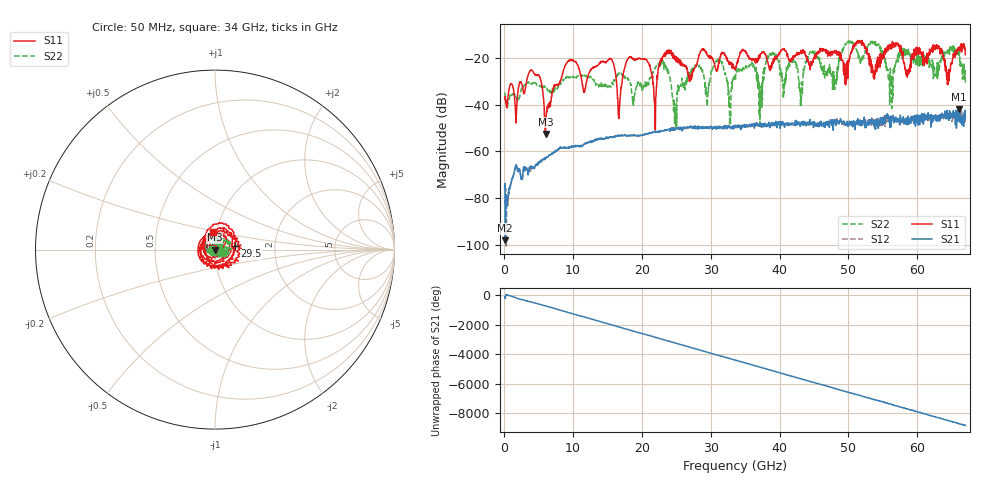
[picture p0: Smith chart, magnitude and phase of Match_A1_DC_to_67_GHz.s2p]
#  HZ  S  MA  R  50.00
! Rohde & Schwarz ZVA67 4Ports - Version 4.11 - 1305.7002k04 SN: 101051
! Date: 2023-05-31 14:22:21
! Measurements: S11 S21 S12 S22
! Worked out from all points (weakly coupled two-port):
!   1340 points, 50 MHz to 67 GHz, reference 50 ohm
!   highest |S21| = -41.98 dB at 66 GHz (marker M1); lowest = -98.0 dB at 150 MHz (marker M2)
!   lowest |S11| = -52.6 dB at 6 GHz (marker M3), VSWR 1.00, Z = 49.8 - j0.0456 ohm
!   |S11| at or under -10 dB: start of sweep to end of sweep
!   |S22| runs from -50.2 to -12.8 dB; largest |S21 - S12| = 0.0045
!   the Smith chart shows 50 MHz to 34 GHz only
!   S11 on the Smith chart (normalised r, x): 50 MHz: 0.97, +0.00; 29.5 GHz: 1.25, +0.05; 34 GHz: 0.96, +0.19
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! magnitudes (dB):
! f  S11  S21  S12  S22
! 50 MHz  -37.3  -75.5  -80.9  -34.8
! 150 MHz  -38.2  -98.0  -82.3  -36.9
! 4 GHz  -25.3  -66.7  -67.4  -31.1
! 6 GHz  -52.6  -63.2  -62.8  -32.3
! 9.3 GHz  -21.2  -58.5  -58.3  -27.9
! 11.25 GHz  -29.9  -57.5  -57.6  -27.4
! 15.45 GHz  -20.7  -53.9  -54.0  -32.7
! 16.7 GHz  -42.6  -53.3  -53.1  -26.4
! 18.8 GHz  -20.3  -53.4  -53.1  -36.6
! 22.4 GHz  -24.2  -51.6  -51.5  -22.8
! 24.75 GHz  -20.7  -50.7  -50.1  -48.3
! 27.8 GHz  -24.0  -50.4  -49.8  -23.2
! 29.5 GHz  -18.9  -49.9  -50.1  -40.8
! 33.55 GHz  -25.2  -48.8  -49.7  -27.6
! 34 GHz  -20.3  -49.2  -49.0  -26.3
! 43.1 GHz  -16.8  -48.3  -48.0  -36.3
! 44.7 GHz  -21.9  -47.8  -47.7  -17.8
! 47.95 GHz  -17.9  -46.9  -47.7  -27.7
! 53.75 GHz  -29.1  -47.0  -48.9  -13.6
! 55.85 GHz  -15.5  -44.8  -46.3  -29.9
! 66 GHz  -16.2  -42.0  -45.9  -18.5
! 67 GHz  -18.7  -45.4  -45.7  -30.6
